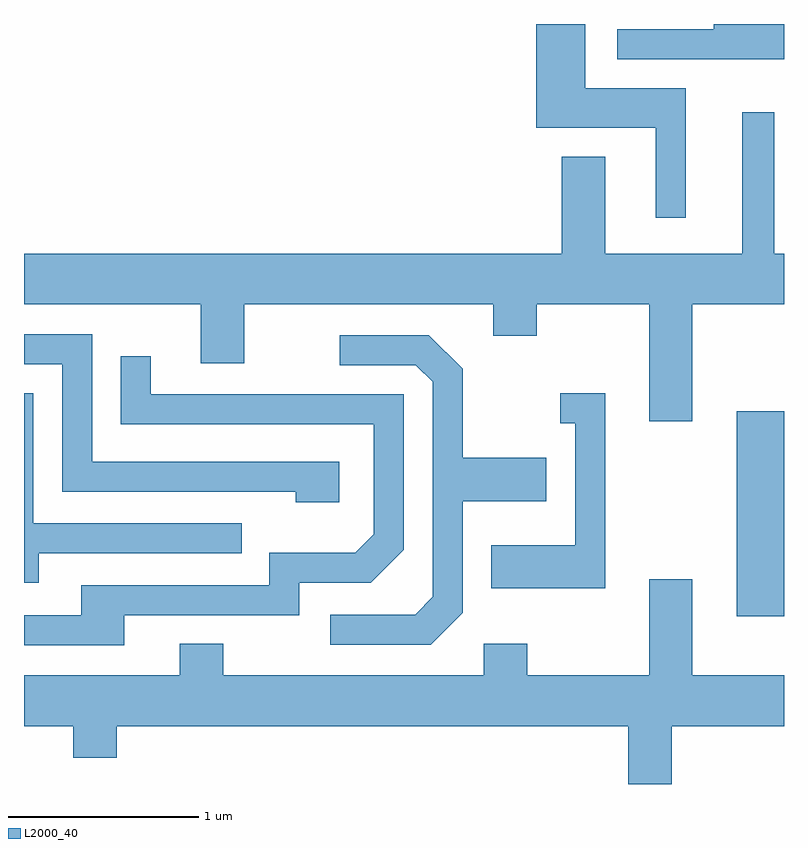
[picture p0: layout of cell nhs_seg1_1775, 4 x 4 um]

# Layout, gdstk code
import gdstk
lib = gdstk.Library(unit=1e-6, precision=1e-09)
def R(c, l, rs):  # rectangles x0, y0, x1, y1
    for r in rs: c.add(gdstk.rectangle(r[:2], r[2:], *l))
def P(c, l, *ps):  # polygons
    for p in ps: c.add(gdstk.Polygon(p, *l))
L2000_40 = (2000, 40)

nhs_seg1_1775 = lib.new_cell('nhs_seg1_1775')
R(nhs_seg1_1775, L2000_40, [(243.361,904.596,243.611,905.674)])
P(nhs_seg1_1775, L2000_40, [(243.611,907.712),(243.241,907.712),(243.241,907.684),(242.733,907.684),(242.733,907.526),(243.611,907.526)],
  [(243.094,907.374),(242.564,907.374),(242.564,907.712),(242.306,907.712),(242.306,907.166),(242.936,907.166),(242.936,906.693),(243.094,906.693)],
  [(243.129,906.236),(243.611,906.236),(243.611,906.504),(243.559,906.504),(243.559,907.248),(243.391,907.248),(243.391,906.504),(242.669,906.504),(242.669,907.014),(242.441,907.014),(242.441,906.504),(239.611,906.504),(239.611,906.236),(240.541,906.236),(240.541,905.926),(240.769,905.926),(240.769,906.236),(242.081,906.236),(242.081,906.071),(242.309,906.071),(242.309,906.236),(242.901,906.236),(242.901,905.621),(243.129,905.621)],
  [(241.269,905.409),(239.969,905.409),(239.969,906.079),(239.611,906.079),(239.611,905.921),(239.811,905.921),(239.811,905.251),(241.041,905.251),(241.041,905.196),(241.269,905.196)],
  [(241.919,904.614),(241.919,905.201),(242.359,905.201),(242.359,905.429),(241.919,905.429),(241.919,905.897),(241.742,906.074),(241.273,906.074),(241.273,905.916),(241.674,905.916),(241.761,905.829),(241.761,904.697),(241.669,904.604),(241.223,904.604),(241.223,904.446),(241.752,904.446)],
  [(240.139,904.601),(241.059,904.601),(241.059,904.771),(241.437,904.771),(241.609,904.944),(241.609,905.764),(240.279,905.764),(240.279,905.963),(240.121,905.963),(240.121,905.606),(241.451,905.606),(241.451,905.027),(241.354,904.929),(240.901,904.929),(240.901,904.759),(239.911,904.759),(239.911,904.599),(239.611,904.599),(239.611,904.441),(240.139,904.441)],
  [(239.689,904.926),(240.758,904.926),(240.758,905.084),(239.659,905.084),(239.659,905.769),(239.611,905.769),(239.611,904.771),(239.689,904.771)],
  [(242.669,905.769),(242.433,905.769),(242.433,905.611),(242.511,905.611),(242.511,904.969),(242.071,904.969),(242.071,904.741),(242.669,904.741)],
  [(243.019,904.016),(243.611,904.016),(243.611,904.284),(243.129,904.284),(243.129,904.789),(242.901,904.789),(242.901,904.284),(242.259,904.284),(242.259,904.449),(242.031,904.449),(242.031,904.284),(240.659,904.284),(240.659,904.449),(240.431,904.449),(240.431,904.284),(239.611,904.284),(239.611,904.016),(239.871,904.016),(239.871,903.851),(240.099,903.851),(240.099,904.016),(242.791,904.016),(242.791,903.712),(243.019,903.712)])

lib.write_gds('nhs_seg1_1775.gds')
